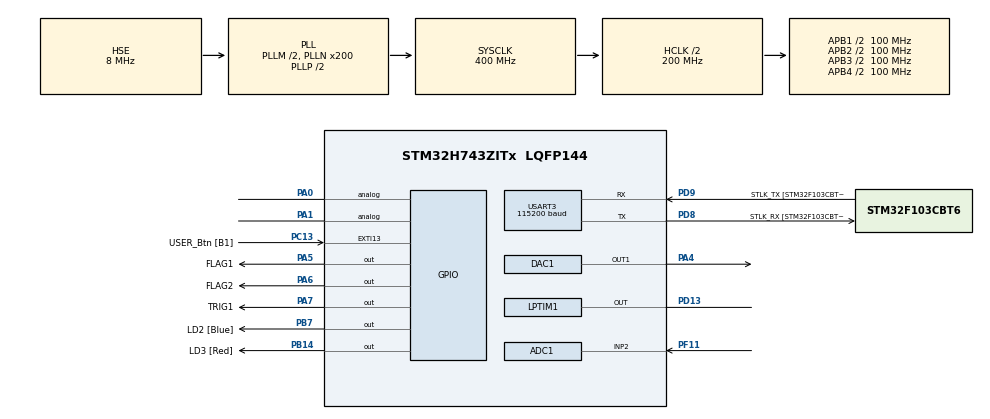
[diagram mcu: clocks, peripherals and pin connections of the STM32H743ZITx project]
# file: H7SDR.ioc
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ADC1.Channel-22\#ChannelRegularConversion=ADC_CHANNEL_2
ADC1.ContinuousConvMode=ENABLE
ADC1.ConversionDataManagement=ADC_CONVERSIONDATA_DMA_CIRCULAR
ADC1.NbrOfConversionFlag=1
ADC1.OffsetNumber-22\#ChannelRegularConversion=ADC_OFFSET_NONE
ADC1.OffsetSignedSaturation-22\#ChannelRegularConversion=DISABLE
ADC1.Rank-22\#ChannelRegularConversion=1
ADC1.SamplingTime-22\#ChannelRegularConversion=ADC_SAMPLETIME_1CYCLE_5
ADC1.master=1
CORTEX_M7.CPU_ICache=Enabled
DAC1.DAC_Channel-DAC_OUT1=DAC_CHANNEL_1
DAC1.DAC_Trigger-DAC_OUT1=DAC_TRIGGER_LPTIM1_OUT
DFSDM1.DataPacking_CH0=DFSDM_CHANNEL_DUAL_MODE
DFSDM1.DataPacking_CH2=DFSDM_CHANNEL_DUAL_MODE
DFSDM1.DmaMode_reg_FIL0=ENABLE
DFSDM1.DmaMode_reg_FIL1=ENABLE
DFSDM1.DmaMode_reg_FIL2=ENABLE
DFSDM1.DmaMode_reg_FIL3=ENABLE
DFSDM1.FastMode_reg_FIL0=ENABLE
DFSDM1.FastMode_reg_FIL1=ENABLE
DFSDM1.FastMode_reg_FIL2=ENABLE
DFSDM1.FastMode_reg_FIL3=ENABLE
DFSDM1.Filter_regChannel_FIL0=DFSDM_CHANNEL_0
DFSDM1.Filter_regChannel_FIL1=DFSDM_CHANNEL_1
DFSDM1.Filter_regChannel_FIL2=DFSDM_CHANNEL_2
DFSDM1.Filter_regChannel_FIL3=DFSDM_CHANNEL_3
DFSDM1.Fosr_FIL0=15
DFSDM1.Fosr_FIL1=15
DFSDM1.Fosr_FIL2=8
DFSDM1.Fosr_FIL3=8
DFSDM1.Iosr_FIL1=1
DFSDM1.RightBitShift_CH0=8
DFSDM1.RightBitShift_CH1=8
DFSDM1.RightBitShift_CH2=7
DFSDM1.RightBitShift_CH3=7
DFSDM1.SincOrder_FIL0=DFSDM_FILTER_SINC4_ORDER
DFSDM1.SincOrder_FIL1=DFSDM_FILTER_SINC4_ORDER
DFSDM1.SincOrder_FIL2=DFSDM_FILTER_SINC5_ORDER
DFSDM1.SincOrder_FIL3=DFSDM_FILTER_SINC5_ORDER
DFSDM1.Trigger_reg_FIL1=DFSDM_FILTER_SW_TRIGGER
Dma.ADC1.2.Direction=DMA_PERIPH_TO_MEMORY
Dma.ADC1.2.EventEnable=DISABLE
Dma.ADC1.2.FIFOMode=DMA_FIFOMODE_DISABLE
Dma.ADC1.2.Instance=DMA1_Stream0
Dma.ADC1.2.MemDataAlignment=DMA_MDATAALIGN_HALFWORD
Dma.ADC1.2.MemInc=DMA_MINC_ENABLE
Dma.ADC1.2.Mode=DMA_CIRCULAR
Dma.ADC1.2.PeriphDataAlignment=DMA_PDATAALIGN_HALFWORD
Dma.ADC1.2.PeriphInc=DMA_PINC_DISABLE
Dma.ADC1.2.Polarity=HAL_DMAMUX_REQ_GEN_RISING
Dma.ADC1.2.Priority=DMA_PRIORITY_LOW
Dma.ADC1.2.RequestNumber=1
Dma.ADC1.2.SignalID=NONE
Dma.ADC1.2.SyncEnable=DISABLE
Dma.ADC1.2.SyncPolarity=HAL_DMAMUX_SYNC_NO_EVENT
Dma.ADC1.2.SyncRequestNumber=1
Dma.ADC1.2.SyncSignalID=NONE
Dma.DAC1_CH1.0.Direction=DMA_MEMORY_TO_PERIPH
Dma.DAC1_CH1.0.EventEnable=DISABLE
Dma.DAC1_CH1.0.FIFOMode=DMA_FIFOMODE_DISABLE
Dma.DAC1_CH1.0.Instance=DMA1_Stream1
Dma.DAC1_CH1.0.MemDataAlignment=DMA_MDATAALIGN_HALFWORD
Dma.DAC1_CH1.0.MemInc=DMA_MINC_ENABLE
Dma.DAC1_CH1.0.Mode=DMA_CIRCULAR
Dma.DAC1_CH1.0.PeriphDataAlignment=DMA_PDATAALIGN_HALFWORD
Dma.DAC1_CH1.0.PeriphInc=DMA_PINC_DISABLE
Dma.DAC1_CH1.0.Polarity=HAL_DMAMUX_REQ_GEN_RISING
Dma.DAC1_CH1.0.Priority=DMA_PRIORITY_VERY_HIGH
Dma.DAC1_CH1.0.RequestNumber=1
Dma.DAC1_CH1.0.SignalID=NONE
Dma.DAC1_CH1.0.SyncEnable=DISABLE
Dma.DAC1_CH1.0.SyncPolarity=HAL_DMAMUX_SYNC_NO_EVENT
Dma.DAC1_CH1.0.SyncRequestNumber=1
Dma.DAC1_CH1.0.SyncSignalID=NONE
Dma.DFSDM1_FLT0.3.Direction=DMA_PERIPH_TO_MEMORY
Dma.DFSDM1_FLT0.3.EventEnable=DISABLE
Dma.DFSDM1_FLT0.3.FIFOMode=DMA_FIFOMODE_DISABLE
Dma.DFSDM1_FLT0.3.Instance=DMA1_Stream3
Dma.DFSDM1_FLT0.3.MemDataAlignment=DMA_MDATAALIGN_WORD
Dma.DFSDM1_FLT0.3.MemInc=DMA_MINC_ENABLE
Dma.DFSDM1_FLT0.3.Mode=DMA_CIRCULAR
Dma.DFSDM1_FLT0.3.PeriphDataAlignment=DMA_PDATAALIGN_WORD
Dma.DFSDM1_FLT0.3.PeriphInc=DMA_PINC_DISABLE
Dma.DFSDM1_FLT0.3.Polarity=HAL_DMAMUX_REQ_GEN_RISING
Dma.DFSDM1_FLT0.3.Priority=DMA_PRIORITY_HIGH
Dma.DFSDM1_FLT0.3.RequestNumber=1
Dma.DFSDM1_FLT0.3.SignalID=NONE
Dma.DFSDM1_FLT0.3.SyncEnable=DISABLE
Dma.DFSDM1_FLT0.3.SyncPolarity=HAL_DMAMUX_SYNC_NO_EVENT
Dma.DFSDM1_FLT0.3.SyncRequestNumber=1
Dma.DFSDM1_FLT0.3.SyncSignalID=NONE
Dma.DFSDM1_FLT1.4.Direction=DMA_PERIPH_TO_MEMORY
Dma.DFSDM1_FLT1.4.EventEnable=DISABLE
Dma.DFSDM1_FLT1.4.FIFOMode=DMA_FIFOMODE_DISABLE
Dma.DFSDM1_FLT1.4.Instance=DMA1_Stream4
Dma.DFSDM1_FLT1.4.MemDataAlignment=DMA_MDATAALIGN_WORD
Dma.DFSDM1_FLT1.4.MemInc=DMA_MINC_ENABLE
Dma.DFSDM1_FLT1.4.Mode=DMA_CIRCULAR
Dma.DFSDM1_FLT1.4.PeriphDataAlignment=DMA_PDATAALIGN_WORD
Dma.DFSDM1_FLT1.4.PeriphInc=DMA_PINC_DISABLE
Dma.DFSDM1_FLT1.4.Polarity=HAL_DMAMUX_REQ_GEN_RISING
Dma.DFSDM1_FLT1.4.Priority=DMA_PRIORITY_HIGH
Dma.DFSDM1_FLT1.4.RequestNumber=1
Dma.DFSDM1_FLT1.4.SignalID=NONE
Dma.DFSDM1_FLT1.4.SyncEnable=DISABLE
Dma.DFSDM1_FLT1.4.SyncPolarity=HAL_DMAMUX_SYNC_NO_EVENT
Dma.DFSDM1_FLT1.4.SyncRequestNumber=1
Dma.DFSDM1_FLT1.4.SyncSignalID=NONE
Dma.DFSDM1_FLT2.5.Direction=DMA_PERIPH_TO_MEMORY
Dma.DFSDM1_FLT2.5.EventEnable=DISABLE
Dma.DFSDM1_FLT2.5.FIFOMode=DMA_FIFOMODE_DISABLE
Dma.DFSDM1_FLT2.5.Instance=DMA1_Stream5
Dma.DFSDM1_FLT2.5.MemDataAlignment=DMA_MDATAALIGN_WORD
Dma.DFSDM1_FLT2.5.MemInc=DMA_MINC_ENABLE
Dma.DFSDM1_FLT2.5.Mode=DMA_CIRCULAR
Dma.DFSDM1_FLT2.5.PeriphDataAlignment=DMA_PDATAALIGN_WORD
Dma.DFSDM1_FLT2.5.PeriphInc=DMA_PINC_DISABLE
Dma.DFSDM1_FLT2.5.Polarity=HAL_DMAMUX_REQ_GEN_RISING
Dma.DFSDM1_FLT2.5.Priority=DMA_PRIORITY_HIGH
Dma.DFSDM1_FLT2.5.RequestNumber=1
Dma.DFSDM1_FLT2.5.SignalID=NONE
Dma.DFSDM1_FLT2.5.SyncEnable=DISABLE
Dma.DFSDM1_FLT2.5.SyncPolarity=HAL_DMAMUX_SYNC_NO_EVENT
Dma.DFSDM1_FLT2.5.SyncRequestNumber=1
Dma.DFSDM1_FLT2.5.SyncSignalID=NONE
Dma.DFSDM1_FLT3.6.Direction=DMA_PERIPH_TO_MEMORY
Dma.DFSDM1_FLT3.6.EventEnable=DISABLE
Dma.DFSDM1_FLT3.6.FIFOMode=DMA_FIFOMODE_DISABLE
Dma.DFSDM1_FLT3.6.Instance=DMA1_Stream6
Dma.DFSDM1_FLT3.6.MemDataAlignment=DMA_MDATAALIGN_WORD
Dma.DFSDM1_FLT3.6.MemInc=DMA_MINC_ENABLE
Dma.DFSDM1_FLT3.6.Mode=DMA_CIRCULAR
Dma.DFSDM1_FLT3.6.PeriphDataAlignment=DMA_PDATAALIGN_WORD
Dma.DFSDM1_FLT3.6.PeriphInc=DMA_PINC_DISABLE
Dma.DFSDM1_FLT3.6.Polarity=HAL_DMAMUX_REQ_GEN_RISING
Dma.DFSDM1_FLT3.6.Priority=DMA_PRIORITY_HIGH
Dma.DFSDM1_FLT3.6.RequestNumber=1
Dma.DFSDM1_FLT3.6.SignalID=NONE
Dma.DFSDM1_FLT3.6.SyncEnable=DISABLE
Dma.DFSDM1_FLT3.6.SyncPolarity=HAL_DMAMUX_SYNC_NO_EVENT
Dma.DFSDM1_FLT3.6.SyncRequestNumber=1
Dma.DFSDM1_FLT3.6.SyncSignalID=NONE
Dma.Request0=DAC1_CH1
Dma.Request1=USART3_TX
Dma.Request2=ADC1
Dma.Request3=DFSDM1_FLT0
Dma.Request4=DFSDM1_FLT1
Dma.Request5=DFSDM1_FLT2
Dma.Request6=DFSDM1_FLT3
Dma.USART3_TX.1.Direction=DMA_MEMORY_TO_PERIPH
Dma.USART3_TX.1.EventEnable=DISABLE
Dma.USART3_TX.1.FIFOMode=DMA_FIFOMODE_DISABLE
Dma.USART3_TX.1.Instance=DMA1_Stream2
Dma.USART3_TX.1.MemDataAlignment=DMA_MDATAALIGN_BYTE
Dma.USART3_TX.1.MemInc=DMA_MINC_ENABLE
Dma.USART3_TX.1.Mode=DMA_NORMAL
Dma.USART3_TX.1.PeriphDataAlignment=DMA_PDATAALIGN_BYTE
Dma.USART3_TX.1.PeriphInc=DMA_PINC_DISABLE
Dma.USART3_TX.1.Polarity=HAL_DMAMUX_REQ_GEN_RISING
Dma.USART3_TX.1.Priority=DMA_PRIORITY_LOW
Dma.USART3_TX.1.RequestNumber=1
Dma.USART3_TX.1.SignalID=NONE
Dma.USART3_TX.1.SyncEnable=DISABLE
Dma.USART3_TX.1.SyncPolarity=HAL_DMAMUX_SYNC_NO_EVENT
Dma.USART3_TX.1.SyncRequestNumber=1
Dma.USART3_TX.1.SyncSignalID=NONE
LPTIM1.TriggerSource=LPTIM_TRIGSOURCE_SOFTWARE
LPTIM1.UpdateMode=LPTIM_UPDATE_IMMEDIATE
Mcu.Family=STM32H7
Mcu.Name=STM32H743ZITx
Mcu.Package=LQFP144
NVIC.DMA1_Stream0_IRQn=true\:0\:0\:false\:false\:true\:false\:true\:true
NVIC.DMA1_Stream1_IRQn=true\:0\:0\:false\:false\:true\:false\:true\:true
NVIC.DMA1_Stream2_IRQn=true\:0\:0\:false\:false\:true\:false\:true\:true
NVIC.DMA1_Stream3_IRQn=true\:0\:0\:false\:false\:true\:false\:true\:true
NVIC.DMA1_Stream4_IRQn=true\:0\:0\:false\:false\:true\:false\:true\:true
NVIC.DMA1_Stream5_IRQn=true\:0\:0\:false\:false\:true\:false\:true\:true
NVIC.DMA1_Stream6_IRQn=true\:0\:0\:false\:false\:true\:false\:true\:true
NVIC.PriorityGroup=NVIC_PRIORITYGROUP_4
NVIC.USART3_IRQn=true\:0\:0\:false\:false\:true\:true\:true\:true
PA0.Signal=GPIO_Analog
PA1.Signal=GPIO_Analog
PA13\ (JTMS/SWDIO).Mode=Serial_Wire
PA13\ (JTMS/SWDIO).Signal=DEBUG_JTMS-SWDIO
PA14\ (JTCK/SWCLK).Mode=Serial_Wire
PA14\ (JTCK/SWCLK).Signal=DEBUG_JTCK-SWCLK
PA4.Signal=COMP_DAC11_group
PA5.GPIO_Label=FLAG1
PA5.Signal=GPIO_Output
PA6.GPIO_Label=FLAG2
PA6.Signal=GPIO_Output
PA7.GPIO_Label=TRIG1
PA7.Signal=GPIO_Output
PB14.GPIO_Label=LD3 [Red]
PB14.Signal=GPIO_Output
PB7.GPIO_Label=LD2 [Blue]
PB7.Signal=GPIO_Output
PC13.GPIO_Label=USER_Btn [B1]
PC13.Signal=GPXTI13
PD13.Mode=WaveformGeneration
PD13.Signal=LPTIM1_OUT
PD8.GPIO_Label=STLK_RX [STM32F103CBT6_PA3]
PD8.Mode=Asynchronous
PD8.Signal=USART3_TX
PD9.GPIO_Label=STLK_TX [STM32F103CBT6_PA2]
PD9.Mode=Asynchronous
PD9.Signal=USART3_RX
PF11.Mode=IN2-Single-Ended
PF11.Signal=ADC1_INP2
PH0-OSC_IN\ (PH0).GPIO_Label=MCO
PH0-OSC_IN\ (PH0).Mode=HSE-External-Clock-Source
PH0-OSC_IN\ (PH0).Signal=RCC_OSC_IN
ProjectManager.HeapSize=0x200
ProjectManager.StackSize=0x400
ProjectManager.TargetToolchain=STM32CubeIDE
RCC.48MHZClocksFreq_Value=24000000
RCC.ADCFreq_Value=26977783.203125
RCC.AHBFreq_Value=216000000
RCC.APB1CLKDivider=RCC_HCLK_DIV4
RCC.APB1Freq_Value=100000000
RCC.APB1TimFreq_Value=108000000
RCC.APB2CLKDivider=RCC_HCLK_DIV2
RCC.APB2Freq_Value=100000000
RCC.APB2TimFreq_Value=216000000
RCC.APB3Freq_Value=100000000
RCC.APB4Freq_Value=100000000
RCC.CortexFreq_Value=400000000
RCC.D1PPRE=RCC_APB3_DIV2
RCC.D2PPRE1=RCC_APB1_DIV2
RCC.D2PPRE2=RCC_APB2_DIV2
RCC.D3PPRE=RCC_APB4_DIV2
RCC.DIVM1=2
RCC.DIVM2=1
RCC.DIVM3=8
RCC.DIVN1=200
RCC.DIVN2=26
RCC.DIVN3=128
RCC.DIVP2=8
RCC.DIVQ1=4
RCC.DIVQ2=8
RCC.HCLKFreq_Value=200000000
RCC.HPRE=RCC_HCLK_DIV2
RCC.HSE_VALUE=8000000
RCC.HSI_VALUE=64000000
RCC.LPTIM1CLockSelection=RCC_LPTIM1CLKSOURCE_PLL2
RCC.PLL1_VCO_SEL-AdvancedSettings=RCC_PLL1VCOMEDIUM
RCC.PLL2FRACN=8010
RCC.PLLFRACN=0
RCC.PLLM=25
RCC.PLLMUL=RCC_PLL_MUL9
RCC.PLLN=432
RCC.PLLQ=9
RCC.PLLSourceVirtual=RCC_PLLSOURCE_HSE
RCC.PRESCALERUSB=RCC_USBCLKSOURCE_PLL_DIV1_5
RCC.SYSCLKFreq_VALUE=400000000
RCC.SYSCLKSource=RCC_SYSCLKSOURCE_PLLCLK
RCC.SYSCLKSourceVirtual=RCC_SYSCLKSOURCE_PLLCLK
RCC.USBFreq_Value=200000000
RCC.VCOOutputFreq_Value=432000000
SH.COMP_DAC11_group.0=DAC1_OUT1,DAC_OUT1
USART3.BaudRate=115200
USART3.FIFOMode=FIFOMODE_DISABLE
USART3.Mode=MODE_TX_RX
USART3.TXFIFOThreshold=TXFIFO_THRESHOLD_EMPTY
USART3.VirtualMode-Asynchronous=VM_ASYNC
VP_DFSDM1_VS_IN0.Mode=Parallel_Input_ch0
VP_DFSDM1_VS_IN1.Mode=Parallel_Input_ch1
VP_DFSDM1_VS_IN2.Mode=Parallel_Input_ch2
VP_DFSDM1_VS_IN3.Mode=Parallel_Input_ch3
VP_LPTIM1_VS_LPTIM_counterModeInternalClock.Mode=Counts__internal_clock_event_00
VP_TIM1_VS_ClockSourceINT.Mode=Internal
board=NUCLEO-H743ZI

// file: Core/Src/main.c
/* USER CODE BEGIN Header */
/* USER CODE END Header */
#include "main.h"

/* USER CODE BEGIN Includes */
#include "fftwindows.h"
#include "base64_encode.h"
#include "arm_math.h"
#include <stdint.h>
/* USER CODE END Includes */

/* USER CODE BEGIN PD */
#define ERRHND      {err_File = __FILE__; err_Line = __LINE__; Error_Handler();}
#define SET_TRIG1   {HAL_GPIO_WritePin(TRIG1_GPIO_Port, TRIG1_Pin, GPIO_PIN_SET);}
#define RESET_TRIG1 {HAL_GPIO_WritePin(TRIG1_GPIO_Port, TRIG1_Pin, GPIO_PIN_RESET);}
#define SET_FLAG1   {HAL_GPIO_WritePin(FLAG1_GPIO_Port, FLAG1_Pin, GPIO_PIN_SET);}
#define RESET_FLAG1 {HAL_GPIO_WritePin(FLAG1_GPIO_Port, FLAG1_Pin, GPIO_PIN_RESET);}
#define SET_FLAG2   {HAL_GPIO_WritePin(FLAG2_GPIO_Port, FLAG2_Pin, GPIO_PIN_SET);}
#define RESET_FLAG2 {HAL_GPIO_WritePin(FLAG2_GPIO_Port, FLAG2_Pin, GPIO_PIN_RESET);}
// Frequency of high speed external clock in Hz
#define F_HSE 8000000
// PLL2 N divisor, DIVM2 = 1 assumed
#define DIVN2 26
// PLL2 fracn2
#define FRACN2 8010
// PLL2 DIVP2
#define DIVP2 8
#define ADC_CLOCK (F_HSE * (26.0 + FRACN2/8192) / DIVP2)
// ADC in 16bit mode needs 10 adc_ker_clk-cycles per conversion
#define CYCLES_PER_ADC_CONVERSION 10
// Time between ADC Samples in s:
#define ADC_PERIOD (CYCLES_PER_ADC_CONVERSION/ADC_CLOCK)
// first decimation filter oversampling ratio
#define FOSR_first 15
// second decimation filter oversampling ratio
#define FOSR_second 8
// Time between DAC samples in s:
#define DAC_PERIOD (ADC_PERIOD * FOSR_first*FOSR_second)

#define DMA_IDLE -1
#define DMA_INPROGRESS 0
#define DMA_HALFCOMPLETE 1
#define DMA_COMPLETE 2

#define DAC_BUFLEN 64
#define FILTER2_BUFLEN (DAC_BUFLEN)
#define FILTER0_BUFLEN (FOSR_second * DAC_BUFLEN)
// ADC_BUFLEN has to be a multiple of 8 (I forgot why...):
#define ADC_BUFLEN (FOSR_first * FOSR_second * DAC_BUFLEN)
// Taps for CIC compensation filter
#define NUM_TAPS 81

/* USER CODE END PD */

ADC_HandleTypeDef hadc1;
DMA_HandleTypeDef hdma_adc1;

DAC_HandleTypeDef hdac1;
DMA_HandleTypeDef hdma_dac1_ch1;

DFSDM_Filter_HandleTypeDef hdfsdm1_filter0;
DFSDM_Filter_HandleTypeDef hdfsdm1_filter1;
DFSDM_Filter_HandleTypeDef hdfsdm1_filter2;
DFSDM_Filter_HandleTypeDef hdfsdm1_filter3;
DFSDM_Channel_HandleTypeDef hdfsdm1_channel0;
DFSDM_Channel_HandleTypeDef hdfsdm1_channel1;
DFSDM_Channel_HandleTypeDef hdfsdm1_channel2;
DFSDM_Channel_HandleTypeDef hdfsdm1_channel3;
DMA_HandleTypeDef hdma_dfsdm1_flt0;
DMA_HandleTypeDef hdma_dfsdm1_flt1;
DMA_HandleTypeDef hdma_dfsdm1_flt2;
DMA_HandleTypeDef hdma_dfsdm1_flt3;

LPTIM_HandleTypeDef hlptim1;

TIM_HandleTypeDef htim1;

UART_HandleTypeDef huart3;
DMA_HandleTypeDef hdma_usart3_tx;

/* USER CODE BEGIN PV */
__attribute__((section(".ram_sdr.ADCBUF"))) ALIGN_32BYTES (static uint16_t adc_buf[ADC_BUFLEN]);
__attribute__((section(".ram_sdr.ADCBUF"))) ALIGN_32BYTES (static float32_t f32_ibuf[FILTER0_BUFLEN]);
__attribute__((section(".ram_sdr.ADCBUF"))) ALIGN_32BYTES (static float32_t f32_qbuf[FILTER0_BUFLEN]);
__attribute__((section(".ram_sdr.ADCBUF"))) ALIGN_32BYTES (static q31_t q31_filter0buf[FILTER0_BUFLEN]);
__attribute__((section(".ram_sdr.ADCBUF"))) ALIGN_32BYTES (static q31_t q31_filter1buf[FILTER0_BUFLEN]);
__attribute__((section(".ram_sdr.ADCBUF"))) ALIGN_32BYTES (static q31_t q31_filter2buf[FILTER2_BUFLEN]);
__attribute__((section(".ram_sdr.ADCBUF"))) ALIGN_32BYTES (static q31_t q31_filter3buf[FILTER2_BUFLEN]);
__attribute__((section(".ram_sdr.ADCBUF"))) ALIGN_32BYTES (static float32_t cplx_buf[2*FILTER2_BUFLEN]);
__attribute__((section(".ram_sdr.ADCBUF"))) ALIGN_32BYTES (static float32_t mag_buf[FILTER2_BUFLEN]);
__attribute__((section(".ram_sdr.ADCBUF"))) ALIGN_32BYTES (static float32_t filteredMag_buf[FILTER2_BUFLEN]);
__attribute__((section(".ram_sdr.ADCBUF"))) ALIGN_32BYTES (static float32_t firStateF32[FILTER2_BUFLEN/2 + NUM_TAPS -1]);
__attribute__((section(".ram_sdr.ADCBUF"))) ALIGN_32BYTES (static uint16_t dac_buf[FILTER2_BUFLEN]);

/*

float32_t cic_compensation_fir_coeff[31] = {
		+0.0069887819, +0.0041257750, -0.0048042590, -0.0173970575,	-0.0203086182, +0.0024378493, +0.0458612471,
		+0.0710893703, +0.0300397219, -0.0805266040, -0.1842281187, -0.1572475188, +0.0788135148, +0.4727037367,
		+0.8464181000, +1.0000000000, +0.8464181000, +0.4727037367, +0.0788135148, -0.1572475188, -0.1842281187,
		-0.0805266040, +0.0300397219, +0.0710893703, +0.0458612471, +0.0024378493, -0.0203086182, -0.0173970575,
		-0.0048042590, +0.0041257750, +0.0069887819};
 */
/*
float32_t cic_compensation_fir_coeff[81] = {
		+0.0002662589, -0.0019258547, -0.0027314644, -0.0012491348, +0.0017764407, +0.0040306125, +0.0031138979,
		-0.0012103384, -0.0059117608, -0.0064405278, -0.0007524619, +0.0076810727, +0.0114169766, +0.0051884959,
		-0.0080865832, -0.0176107450, -0.0129870200, +0.0054343633, +0.0238248253, +0.0245654785, +0.0022224689,
		-0.0280433507, -0.0396466601, -0.0169173794, +0.0273996878, +0.0571376961, +0.0408084327, -0.0179408090,
		-0.0750885233, -0.0768359047, -0.0065270418, +0.0905038921, +0.1313586058, +0.0594465897, -0.0976344743,
		-0.2255574379, -0.1894809324, +0.0697413479, +0.4769489071, +0.8495355583, +1.0000000000, +0.8495355583,
		+0.4769489071, +0.0697413479, -0.1894809324, -0.2255574379, -0.0976344743, +0.0594465897, +0.1313586058,
		+0.0905038921, -0.0065270418, -0.0768359047, -0.0750885233, -0.0179408090, +0.0408084327, +0.0571376961,
		+0.0273996878, -0.0169173794, -0.0396466601, -0.0280433507, +0.0022224689, +0.0245654785, +0.0238248253,
		+0.0054343633, -0.0129870200, -0.0176107450, -0.0080865832, +0.0051884959, +0.0114169766, +0.0076810727,
		-0.0007524619, -0.0064405278, -0.0059117608, -0.0012103384, +0.0031138979, +0.0040306125, +0.0017764407,
		-0.0012491348, -0.0027314644, -0.0019258547, +0.0002662589};
*/
// mit Hochpass:
float32_t cic_compensation_fir_coeff[81] = {
		+0.0009506491, -0.0016149139, -0.0026729986, -0.0012594242, +0.0017881922, +0.0039142256, +0.0024694202,
		-0.0028309208, -0.0086990718, -0.0101849145, -0.0050763894, +0.0028101508, +0.0053185214, -0.0033244777,
		-0.0199392501, -0.0327262471, -0.0303191978, -0.0130977853, +0.0038263100, +0.0012023183, -0.0268923326,
		-0.0638570754, -0.0805951016, -0.0599397519, -0.0157889142, +0.0123535948, -0.0098975128, -0.0785083560,
		-0.1452986453, -0.1513968665, -0.0785432385, +0.0237417624, +0.0648637581, -0.0170092890, -0.1916618459,
		-0.3340529012, -0.2967158273, -0.0149534091, +0.4290760698, +0.8357281697, +1.0000000000, +0.8357281697,
		+0.4290760698, -0.0149534091, -0.2967158273, -0.3340529012, -0.1916618459, -0.0170092890, +0.0648637581,
		+0.0237417624, -0.0785432385, -0.1513968665, -0.1452986453, -0.0785083560, -0.0098975128, +0.0123535948,
		-0.0157889142, -0.0599397519, -0.0805951016, -0.0638570754, -0.0268923326, +0.0012023183, +0.0038263100,
		-0.0130977853, -0.0303191978, -0.0327262471, -0.0199392501, -0.0033244777, +0.0053185214, +0.0028101508,
		-0.0050763894, -0.0101849145, -0.0086990718, -0.0028309208, +0.0024694202, +0.0039142256, +0.0017881922,
		-0.0012594242, -0.0026729986, -0.0016149139, +0.0009506491};

/* ------------------------------------------------------------------
 * Global variables for FIR filter
 * ------------------------------------------------------------------- */
arm_fir_instance_f32 fir_instance;
arm_status armStatus;

// DFSDM channel 0 input register (unfortunately not found in HAL, so declared here:)
volatile uint32_t *DFSDM_CH0DATINR = (uint32_t *) (DFSDM1_BASE + 0x10);
volatile uint32_t dfsdm_chydatinr = 0;
// DFSDM channel 2 input register
volatile uint32_t *DFSDM_CH2DATINR = (uint32_t *) (DFSDM1_BASE + 0x10 + 2*0x20);
//
volatile uint32_t *DWT_CONTROL = (uint32_t *)0xE0001000;
volatile uint32_t *DWT_CYCCNT = (uint32_t *)0xE0001004;
volatile uint32_t *DEMCR = (uint32_t *)0xE000EDFC;
//
char *err_File;
int err_Line;

volatile int8_t adcBufDMAState = DMA_IDLE;
volatile int8_t filter0BufDMAState = DMA_IDLE;
volatile int8_t filter1BufDMAState = DMA_IDLE;
volatile int8_t filter2BufDMAState = DMA_IDLE;
volatile int8_t filter3BufDMAState = DMA_IDLE;
volatile int8_t dacBufDMAState = DMA_IDLE;
volatile int8_t txBufDMAState = DMA_IDLE;

volatile uint8_t dacDMAInitialized = 0;

volatile int16_t dac_gain = 40;

volatile uint8_t offsetCalibrationDone = 0;
uint32_t lastTick;
uint32_t curTick;
const float32_t a_fgmean = 1.0e-5;
float32_t fgmean = 32767.0;
int32_t gMean = 32767;

volatile int dacDMADelay_ms = 1;
const uint8_t ifftFlag = 0; // forward FFT

/* USER CODE END PV */

void SystemClock_Config(void);
void PeriphCommonClock_Config(void);
static void MX_GPIO_Init(void);
static void MX_DMA_Init(void);
static void MX_USART3_UART_Init(void);
static void MX_DAC1_Init(void);
static void MX_ADC1_Init(void);
static void MX_DFSDM1_Init(void);
static void MX_LPTIM1_Init(void);
static void MX_TIM1_Init(void);
/* USER CODE BEGIN PFP */
void feedDFSDMinput(uint16_t startIndex);
void feedSecondFilter(uint16_t startindex);
void feedDACBuf(uint16_t startindex);
void delay_ns (uint16_t ns);
/* USER CODE END PFP */

int main(void)
{

  /* Enable I-Cache---------------------------------------------------------*/
  SCB_EnableICache();

  /* MCU Configuration--------------------------------------------------------*/

  /* Reset of all peripherals, Initializes the Flash interface and the Systick. */
  HAL_Init();

  /* Configure the system clock */
  SystemClock_Config();

/* Configure the peripherals common clocks */
  PeriphCommonClock_Config();

  /* Initialize all configured peripherals */
  MX_GPIO_Init();
  MX_DMA_Init();
  MX_USART3_UART_Init();
  MX_DAC1_Init();
  MX_ADC1_Init();
  MX_DFSDM1_Init();
  MX_LPTIM1_Init();
  MX_TIM1_Init();
  /* USER CODE BEGIN 2 */

  arm_fir_init_f32(&fir_instance, NUM_TAPS, cic_compensation_fir_coeff, firStateF32, FILTER2_BUFLEN/2);

  //kaiser_f32(win_buf, 38, ADC_BUFLEN);

  if (HAL_DFSDM_FilterRegularStart_DMA(&hdfsdm1_filter0, q31_filter0buf, FILTER0_BUFLEN) != HAL_OK) {
	  ERRHND;
  }
  filter0BufDMAState = DMA_INPROGRESS;

  if (HAL_DFSDM_FilterRegularStart_DMA(&hdfsdm1_filter1, q31_filter1buf, FILTER0_BUFLEN) != HAL_OK) {
	  ERRHND;
  }
  filter1BufDMAState = DMA_INPROGRESS;

  if (HAL_DFSDM_FilterRegularStart_DMA(&hdfsdm1_filter2, q31_filter2buf, FILTER2_BUFLEN) != HAL_OK) {
	  ERRHND;
  }
  filter2BufDMAState = DMA_INPROGRESS;

  if (HAL_DFSDM_FilterRegularStart_DMA(&hdfsdm1_filter3, q31_filter3buf, FILTER2_BUFLEN) != HAL_OK) {
	  ERRHND;
  }
  filter3BufDMAState = DMA_INPROGRESS;

  //ADC_ConfigureBoostMode(&hadc1); // recommended for ADCCLK>20M, see datasheet

  if (HAL_ADC_Start_DMA(&hadc1, (uint32_t*)adc_buf, ADC_BUFLEN) != HAL_OK) {
	  ERRHND;
   }
  adcBufDMAState = DMA_INPROGRESS;

  // First ADC block will be fed to DFSDM filter input beginning after xxx
  // Start of DAC DMA should be delayed
  // HAL_Delay(dacDMADelay_ms);

  // TIM1 only needed for short delays:
  if(HAL_OK != HAL_TIM_Base_Start(&htim1)) {
	  ERRHND;
  }

  /* USER CODE END 2 */

  /* Infinite loop */
  /* USER CODE BEGIN WHILE */
  while(1)  {
      HAL_GPIO_TogglePin(LD2_GPIO_Port, LD2_Pin); // blue LED LD2 on NUCLEO board

      if (adcBufDMAState > DMA_INPROGRESS) {
		  if (adcBufDMAState == DMA_HALFCOMPLETE) {
			  SET_FLAG2; // dunkelblau
			  feedDFSDMinput(0);
			  adcBufDMAState = DMA_INPROGRESS;
		  }
          else if (adcBufDMAState == DMA_COMPLETE) {
			  RESET_FLAG2; // dunkelblau
			  feedDFSDMinput(ADC_BUFLEN/2);
			  adcBufDMAState = DMA_INPROGRESS;
		  }
      }

      if (filter0BufDMAState > DMA_INPROGRESS) { // filters 0+1 are ready at the same time
    	  if (filter0BufDMAState == DMA_HALFCOMPLETE) {
    		  SET_FLAG1; //magenta
              /* Feed first halves of filter-output 0,1 to filter inputs 2,3 */
    	      feedSecondFilter(0);
    	      filter0BufDMAState = DMA_INPROGRESS;
    	      filter1BufDMAState = DMA_INPROGRESS;
    	 }
    	 else if (filter0BufDMAState == DMA_COMPLETE) {
     		  RESET_FLAG1; //magenta
              /* Feed second halves of filter-output 0,1 to filter inputs 2,3 */
    	      feedSecondFilter(FILTER0_BUFLEN/2);
    	      filter0BufDMAState = DMA_INPROGRESS;
    	      filter1BufDMAState = DMA_INPROGRESS;
    	 }
      }

      if (filter2BufDMAState > DMA_INPROGRESS) { // filters 2+3 are ready at the same time
    	  if (filter2BufDMAState == DMA_HALFCOMPLETE) {
              /* Store filtered values in first half of DAC buf */
    	      feedDACBuf(0);
    	      // jetzt DAC-DMA starten, falls nicht schon geschehen:
    	      if(dacDMAInitialized == 0) {
    	    	  if (HAL_OK != HAL_LPTIM_Counter_Start(&hlptim1,
    	    			  FOSR_first*FOSR_second * CYCLES_PER_ADC_CONVERSION - 1 )) {
    	    		  ERRHND;
    	    	  }
    	    	  if(HAL_OK != HAL_DAC_Start_DMA(&hdac1, DAC_CHANNEL_1, (uint32_t*)dac_buf,
    	    	 		   FILTER2_BUFLEN, DAC_ALIGN_12B_L)) {
    	    		  ERRHND;
    	    	  }
    	    	  dacDMAInitialized = 1;
    	      }
    	      filter2BufDMAState = DMA_INPROGRESS;
    	      filter3BufDMAState = DMA_INPROGRESS;
    	 }
    	 else if (filter2BufDMAState == DMA_COMPLETE) {
              /* Store filtered values on second half of DAC buf */
              feedDACBuf(FILTER2_BUFLEN/2);
    	      filter2BufDMAState = DMA_INPROGRESS;
    	      filter3BufDMAState = DMA_INPROGRESS;
    	 }
      }

      if (dacBufDMAState > DMA_INPROGRESS) {
          if (dacBufDMAState == DMA_HALFCOMPLETE) {
              SET_TRIG1; //hellblau
              dacBufDMAState = DMA_INPROGRESS;
          }
          else if (dacBufDMAState == DMA_COMPLETE) {
              RESET_TRIG1; //hellblau
              dacBufDMAState = DMA_INPROGRESS;
          }
      }

      if ((curTick = HAL_GetTick()) != lastTick) {
	      fgmean = fgmean * (1.0 - a_fgmean) + a_fgmean * adc_buf[0];
	      gMean = (int)(fgmean + 0.5);
	      lastTick = curTick;
      }
  }
    /* USER CODE END WHILE */

}

void SystemClock_Config(void)
{
  RCC_OscInitTypeDef RCC_OscInitStruct = {0};
  RCC_ClkInitTypeDef RCC_ClkInitStruct = {0};

  /** Supply configuration update enable
  */
  HAL_PWREx_ConfigSupply(PWR_LDO_SUPPLY);

  /** Configure the main internal regulator output voltage
  */
  __HAL_PWR_VOLTAGESCALING_CONFIG(PWR_REGULATOR_VOLTAGE_SCALE1);

  while(!__HAL_PWR_GET_FLAG(PWR_FLAG_VOSRDY)) {}

  /** Initializes the RCC Oscillators according to the specified parameters
  * in the RCC_OscInitTypeDef structure.
  */
  RCC_OscInitStruct.OscillatorType = RCC_OSCILLATORTYPE_HSE;
  RCC_OscInitStruct.HSEState = RCC_HSE_BYPASS;
  RCC_OscInitStruct.PLL.PLLState = RCC_PLL_ON;
  RCC_OscInitStruct.PLL.PLLSource = RCC_PLLSOURCE_HSE;
  RCC_OscInitStruct.PLL.PLLM = 2;
  RCC_OscInitStruct.PLL.PLLN = 200;
  RCC_OscInitStruct.PLL.PLLP = 2;
  RCC_OscInitStruct.PLL.PLLQ = 4;
  RCC_OscInitStruct.PLL.PLLR = 2;
  RCC_OscInitStruct.PLL.PLLRGE = RCC_PLL1VCIRANGE_2;
  RCC_OscInitStruct.PLL.PLLVCOSEL = RCC_PLL1VCOWIDE;
  RCC_OscInitStruct.PLL.PLLFRACN = 0;
  if (HAL_RCC_OscConfig(&RCC_OscInitStruct) != HAL_OK)
  {
    Error_Handler();
  }

  /** Initializes the CPU, AHB and APB buses clocks
  */
  RCC_ClkInitStruct.ClockType = RCC_CLOCKTYPE_HCLK|RCC_CLOCKTYPE_SYSCLK
                              |RCC_CLOCKTYPE_PCLK1|RCC_CLOCKTYPE_PCLK2
                              |RCC_CLOCKTYPE_D3PCLK1|RCC_CLOCKTYPE_D1PCLK1;
  RCC_ClkInitStruct.SYSCLKSource = RCC_SYSCLKSOURCE_PLLCLK;
  RCC_ClkInitStruct.SYSCLKDivider = RCC_SYSCLK_DIV1;
  RCC_ClkInitStruct.AHBCLKDivider = RCC_HCLK_DIV2;
  RCC_ClkInitStruct.APB3CLKDivider = RCC_APB3_DIV2;
  RCC_ClkInitStruct.APB1CLKDivider = RCC_APB1_DIV2;
  RCC_ClkInitStruct.APB2CLKDivider = RCC_APB2_DIV2;
  RCC_ClkInitStruct.APB4CLKDivider = RCC_APB4_DIV2;

  if (HAL_RCC_ClockConfig(&RCC_ClkInitStruct, FLASH_LATENCY_2) != HAL_OK)
  {
    Error_Handler();
  }
}

void PeriphCommonClock_Config(void)
{
  RCC_PeriphCLKInitTypeDef PeriphClkInitStruct = {0};

  /** Initializes the peripherals clock
  */
  PeriphClkInitStruct.PeriphClockSelection = RCC_PERIPHCLK_ADC|RCC_PERIPHCLK_LPTIM1;
  PeriphClkInitStruct.PLL2.PLL2M = 1;
  PeriphClkInitStruct.PLL2.PLL2N = 26;
  PeriphClkInitStruct.PLL2.PLL2P = 8;
  PeriphClkInitStruct.PLL2.PLL2Q = 8;
  PeriphClkInitStruct.PLL2.PLL2R = 2;
  PeriphClkInitStruct.PLL2.PLL2RGE = RCC_PLL2VCIRANGE_3;
  PeriphClkInitStruct.PLL2.PLL2VCOSEL = RCC_PLL2VCOWIDE;
  PeriphClkInitStruct.PLL2.PLL2FRACN = 8010;
  PeriphClkInitStruct.Lptim1ClockSelection = RCC_LPTIM1CLKSOURCE_PLL2;
  PeriphClkInitStruct.AdcClockSelection = RCC_ADCCLKSOURCE_PLL2;
  if (HAL_RCCEx_PeriphCLKConfig(&PeriphClkInitStruct) != HAL_OK)
  {
    Error_Handler();
  }
}

static void MX_ADC1_Init(void)
{

  ADC_MultiModeTypeDef multimode = {0};
  ADC_ChannelConfTypeDef sConfig = {0};

  /** Common config
  */
  hadc1.Instance = ADC1;
  hadc1.Init.ClockPrescaler = ADC_CLOCK_ASYNC_DIV1;
  hadc1.Init.Resolution = ADC_RESOLUTION_16B;
  hadc1.Init.ScanConvMode = ADC_SCAN_DISABLE;
  hadc1.Init.EOCSelection = ADC_EOC_SINGLE_CONV;
  hadc1.Init.LowPowerAutoWait = DISABLE;
  hadc1.Init.ContinuousConvMode = ENABLE;
  hadc1.Init.NbrOfConversion = 1;
  hadc1.Init.DiscontinuousConvMode = DISABLE;
  hadc1.Init.ExternalTrigConv = ADC_SOFTWARE_START;
  hadc1.Init.ExternalTrigConvEdge = ADC_EXTERNALTRIGCONVEDGE_NONE;
  hadc1.Init.ConversionDataManagement = ADC_CONVERSIONDATA_DMA_CIRCULAR;
  hadc1.Init.Overrun = ADC_OVR_DATA_PRESERVED;
  hadc1.Init.LeftBitShift = ADC_LEFTBITSHIFT_NONE;
  hadc1.Init.OversamplingMode = DISABLE;
  if (HAL_ADC_Init(&hadc1) != HAL_OK)
  {
    Error_Handler();
  }

  /** Configure the ADC multi-mode
  */
  multimode.Mode = ADC_MODE_INDEPENDENT;
  if (HAL_ADCEx_MultiModeConfigChannel(&hadc1, &multimode) != HAL_OK)
  {
    Error_Handler();
  }

  /** Configure Regular Channel
  */
  sConfig.Channel = ADC_CHANNEL_2;
  sConfig.Rank = ADC_REGULAR_RANK_1;
  sConfig.SamplingTime = ADC_SAMPLETIME_1CYCLE_5;
  sConfig.SingleDiff = ADC_SINGLE_ENDED;
  sConfig.OffsetNumber = ADC_OFFSET_NONE;
  sConfig.Offset = 0;
  sConfig.OffsetSignedSaturation = DISABLE;
  if (HAL_ADC_ConfigChannel(&hadc1, &sConfig) != HAL_OK)
  {
    Error_Handler();
  }

}

static void MX_DAC1_Init(void)
{

  DAC_ChannelConfTypeDef sConfig = {0};

  /** DAC Initialization
  */
  hdac1.Instance = DAC1;
  if (HAL_DAC_Init(&hdac1) != HAL_OK)
  {
    Error_Handler();
  }

  /** DAC channel OUT1 config
  */
  sConfig.DAC_SampleAndHold = DAC_SAMPLEANDHOLD_DISABLE;
  sConfig.DAC_Trigger = DAC_TRIGGER_LPTIM1_OUT;
  sConfig.DAC_OutputBuffer = DAC_OUTPUTBUFFER_ENABLE;
  sConfig.DAC_ConnectOnChipPeripheral = DAC_CHIPCONNECT_DISABLE;
  sConfig.DAC_UserTrimming = DAC_TRIMMING_FACTORY;
  if (HAL_DAC_ConfigChannel(&hdac1, &sConfig, DAC_CHANNEL_1) != HAL_OK)
  {
    Error_Handler();
  }

}

static void MX_DFSDM1_Init(void)
{

  hdfsdm1_filter0.Instance = DFSDM1_Filter0;
  hdfsdm1_filter0.Init.RegularParam.Trigger = DFSDM_FILTER_SW_TRIGGER;
  hdfsdm1_filter0.Init.RegularParam.FastMode = ENABLE;
  hdfsdm1_filter0.Init.RegularParam.DmaMode = ENABLE;
  hdfsdm1_filter0.Init.FilterParam.SincOrder = DFSDM_FILTER_SINC4_ORDER;
  hdfsdm1_filter0.Init.FilterParam.Oversampling = 15;
  hdfsdm1_filter0.Init.FilterParam.IntOversampling = 1;
  if (HAL_DFSDM_FilterInit(&hdfsdm1_filter0) != HAL_OK)
  {
    Error_Handler();
  }
  hdfsdm1_filter1.Instance = DFSDM1_Filter1;
  hdfsdm1_filter1.Init.RegularParam.Trigger = DFSDM_FILTER_SW_TRIGGER;
  hdfsdm1_filter1.Init.RegularParam.FastMode = ENABLE;
  hdfsdm1_filter1.Init.RegularParam.DmaMode = ENABLE;
  hdfsdm1_filter1.Init.FilterParam.SincOrder = DFSDM_FILTER_SINC4_ORDER;
  hdfsdm1_filter1.Init.FilterParam.Oversampling = 15;
  hdfsdm1_filter1.Init.FilterParam.IntOversampling = 1;
  if (HAL_DFSDM_FilterInit(&hdfsdm1_filter1) != HAL_OK)
  {
    Error_Handler();
  }
  hdfsdm1_filter2.Instance = DFSDM1_Filter2;
  hdfsdm1_filter2.Init.RegularParam.Trigger = DFSDM_FILTER_SW_TRIGGER;
  hdfsdm1_filter2.Init.RegularParam.FastMode = ENABLE;
  hdfsdm1_filter2.Init.RegularParam.DmaMode = ENABLE;
  hdfsdm1_filter2.Init.FilterParam.SincOrder = DFSDM_FILTER_SINC5_ORDER;
  hdfsdm1_filter2.Init.FilterParam.Oversampling = 8;
  hdfsdm1_filter2.Init.FilterParam.IntOversampling = 1;
  if (HAL_DFSDM_FilterInit(&hdfsdm1_filter2) != HAL_OK)
  {
    Error_Handler();
  }
  hdfsdm1_filter3.Instance = DFSDM1_Filter3;
  hdfsdm1_filter3.Init.RegularParam.Trigger = DFSDM_FILTER_SW_TRIGGER;
  hdfsdm1_filter3.Init.RegularParam.FastMode = ENABLE;
  hdfsdm1_filter3.Init.RegularParam.DmaMode = ENABLE;
  hdfsdm1_filter3.Init.FilterParam.SincOrder = DFSDM_FILTER_SINC5_ORDER;
  hdfsdm1_filter3.Init.FilterParam.Oversampling = 8;
  hdfsdm1_filter3.Init.FilterParam.IntOversampling = 1;
  if (HAL_DFSDM_FilterInit(&hdfsdm1_filter3) != HAL_OK)
  {
    Error_Handler();
  }
  hdfsdm1_channel0.Instance = DFSDM1_Channel0;
  hdfsdm1_channel0.Init.OutputClock.Activation = DISABLE;
  hdfsdm1_channel0.Init.OutputClock.Selection = DFSDM_CHANNEL_OUTPUT_CLOCK_SYSTEM;
  hdfsdm1_channel0.Init.OutputClock.Divider = 2;
  hdfsdm1_channel0.Init.Input.Multiplexer = DFSDM_CHANNEL_INTERNAL_REGISTER;
  hdfsdm1_channel0.Init.Input.DataPacking = DFSDM_CHANNEL_DUAL_MODE;
  hdfsdm1_channel0.Init.Input.Pins = DFSDM_CHANNEL_SAME_CHANNEL_PINS;
  hdfsdm1_channel0.Init.SerialInterface.Type = DFSDM_CHANNEL_SPI_RISING;
  hdfsdm1_channel0.Init.SerialInterface.SpiClock = DFSDM_CHANNEL_SPI_CLOCK_EXTERNAL;
  hdfsdm1_channel0.Init.Awd.FilterOrder = DFSDM_CHANNEL_FASTSINC_ORDER;
  hdfsdm1_channel0.Init.Awd.Oversampling = 1;
  hdfsdm1_channel0.Init.Offset = 0x00;
  hdfsdm1_channel0.Init.RightBitShift = 8;
  if (HAL_DFSDM_ChannelInit(&hdfsdm1_channel0) != HAL_OK)
  {
    Error_Handler();
  }
  hdfsdm1_channel1.Instance = DFSDM1_Channel1;
  hdfsdm1_channel1.Init.OutputClock.Activation = DISABLE;
  hdfsdm1_channel1.Init.OutputClock.Selection = DFSDM_CHANNEL_OUTPUT_CLOCK_SYSTEM;
  hdfsdm1_channel1.Init.OutputClock.Divider = 2;
  hdfsdm1_channel1.Init.Input.Multiplexer = DFSDM_CHANNEL_INTERNAL_REGISTER;
  hdfsdm1_channel1.Init.Input.DataPacking = DFSDM_CHANNEL_STANDARD_MODE;
  hdfsdm1_channel1.Init.Input.Pins = DFSDM_CHANNEL_SAME_CHANNEL_PINS;
  hdfsdm1_channel1.Init.SerialInterface.Type = DFSDM_CHANNEL_SPI_RISING;
  hdfsdm1_channel1.Init.SerialInterface.SpiClock = DFSDM_CHANNEL_SPI_CLOCK_EXTERNAL;
  hdfsdm1_channel1.Init.Awd.FilterOrder = DFSDM_CHANNEL_FASTSINC_ORDER;
  hdfsdm1_channel1.Init.Awd.Oversampling = 1;
  hdfsdm1_channel1.Init.Offset = 0x00;
  hdfsdm1_channel1.Init.RightBitShift = 8;
  if (HAL_DFSDM_ChannelInit(&hdfsdm1_channel1) != HAL_OK)
  {
    Error_Handler();
  }
  hdfsdm1_channel2.Instance = DFSDM1_Channel2;
  hdfsdm1_channel2.Init.OutputClock.Activation = DISABLE;
  hdfsdm1_channel2.Init.OutputClock.Selection = DFSDM_CHANNEL_OUTPUT_CLOCK_SYSTEM;
  hdfsdm1_channel2.Init.OutputClock.Divider = 2;
  hdfsdm1_channel2.Init.Input.Multiplexer = DFSDM_CHANNEL_INTERNAL_REGISTER;
  hdfsdm1_channel2.Init.Input.DataPacking = DFSDM_CHANNEL_DUAL_MODE;
  hdfsdm1_channel2.Init.Input.Pins = DFSDM_CHANNEL_SAME_CHANNEL_PINS;
  hdfsdm1_channel2.Init.SerialInterface.Type = DFSDM_CHANNEL_SPI_RISING;
  hdfsdm1_channel2.Init.SerialInterface.SpiClock = DFSDM_CHANNEL_SPI_CLOCK_EXTERNAL;
  hdfsdm1_channel2.Init.Awd.FilterOrder = DFSDM_CHANNEL_FASTSINC_ORDER;
  hdfsdm1_channel2.Init.Awd.Oversampling = 1;
  hdfsdm1_channel2.Init.Offset = 0x00;
  hdfsdm1_channel2.Init.RightBitShift = 7;
  if (HAL_DFSDM_ChannelInit(&hdfsdm1_channel2) != HAL_OK)
  {
    Error_Handler();
  }
  hdfsdm1_channel3.Instance = DFSDM1_Channel3;
  hdfsdm1_channel3.Init.OutputClock.Activation = DISABLE;
  hdfsdm1_channel3.Init.OutputClock.Selection = DFSDM_CHANNEL_OUTPUT_CLOCK_SYSTEM;
  hdfsdm1_channel3.Init.OutputClock.Divider = 2;
  hdfsdm1_channel3.Init.Input.Multiplexer = DFSDM_CHANNEL_INTERNAL_REGISTER;
  hdfsdm1_channel3.Init.Input.DataPacking = DFSDM_CHANNEL_STANDARD_MODE;
  hdfsdm1_channel3.Init.Input.Pins = DFSDM_CHANNEL_SAME_CHANNEL_PINS;
  hdfsdm1_channel3.Init.SerialInterface.Type = DFSDM_CHANNEL_SPI_RISING;
  hdfsdm1_channel3.Init.SerialInterface.SpiClock = DFSDM_CHANNEL_SPI_CLOCK_EXTERNAL;
  hdfsdm1_channel3.Init.Awd.FilterOrder = DFSDM_CHANNEL_FASTSINC_ORDER;
  hdfsdm1_channel3.Init.Awd.Oversampling = 1;
  hdfsdm1_channel3.Init.Offset = 0x00;
  hdfsdm1_channel3.Init.RightBitShift = 7;
  if (HAL_DFSDM_ChannelInit(&hdfsdm1_channel3) != HAL_OK)
  {
    Error_Handler();
  }
  if (HAL_DFSDM_FilterConfigRegChannel(&hdfsdm1_filter0, DFSDM_CHANNEL_0, DFSDM_CONTINUOUS_CONV_ON) != HAL_OK)
  {
    Error_Handler();
  }
  if (HAL_DFSDM_FilterConfigRegChannel(&hdfsdm1_filter1, DFSDM_CHANNEL_1, DFSDM_CONTINUOUS_CONV_ON) != HAL_OK)
  {
    Error_Handler();
  }
  if (HAL_DFSDM_FilterConfigRegChannel(&hdfsdm1_filter2, DFSDM_CHANNEL_2, DFSDM_CONTINUOUS_CONV_ON) != HAL_OK)
  {
    Error_Handler();
  }
  if (HAL_DFSDM_FilterConfigRegChannel(&hdfsdm1_filter3, DFSDM_CHANNEL_3, DFSDM_CONTINUOUS_CONV_ON) != HAL_OK)
  {
    Error_Handler();
  }

}

static void MX_LPTIM1_Init(void)
{

  hlptim1.Instance = LPTIM1;
  hlptim1.Init.Clock.Source = LPTIM_CLOCKSOURCE_APBCLOCK_LPOSC;
  hlptim1.Init.Clock.Prescaler = LPTIM_PRESCALER_DIV1;
  hlptim1.Init.Trigger.Source = LPTIM_TRIGSOURCE_SOFTWARE;
  hlptim1.Init.OutputPolarity = LPTIM_OUTPUTPOLARITY_HIGH;
  hlptim1.Init.UpdateMode = LPTIM_UPDATE_IMMEDIATE;
  hlptim1.Init.CounterSource = LPTIM_COUNTERSOURCE_INTERNAL;
  hlptim1.Init.Input1Source = LPTIM_INPUT1SOURCE_GPIO;
  hlptim1.Init.Input2Source = LPTIM_INPUT2SOURCE_GPIO;
  if (HAL_LPTIM_Init(&hlptim1) != HAL_OK)
  {
    Error_Handler();
  }

}

static void MX_TIM1_Init(void)
{

  TIM_ClockConfigTypeDef sClockSourceConfig = {0};
  TIM_MasterConfigTypeDef sMasterConfig = {0};

  htim1.Instance = TIM1;
  htim1.Init.Prescaler = 0;
  htim1.Init.CounterMode = TIM_COUNTERMODE_UP;
  htim1.Init.Period = 65535;
  htim1.Init.ClockDivision = TIM_CLOCKDIVISION_DIV1;
  htim1.Init.RepetitionCounter = 0;
  htim1.Init.AutoReloadPreload = TIM_AUTORELOAD_PRELOAD_DISABLE;
  if (HAL_TIM_Base_Init(&htim1) != HAL_OK)
  {
    Error_Handler();
  }
  sClockSourceConfig.ClockSource = TIM_CLOCKSOURCE_INTERNAL;
  if (HAL_TIM_ConfigClockSource(&htim1, &sClockSourceConfig) != HAL_OK)
  {
    Error_Handler();
  }
  sMasterConfig.MasterOutputTrigger = TIM_TRGO_RESET;
  sMasterConfig.MasterOutputTrigger2 = TIM_TRGO2_RESET;
  sMasterConfig.MasterSlaveMode = TIM_MASTERSLAVEMODE_DISABLE;
  if (HAL_TIMEx_MasterConfigSynchronization(&htim1, &sMasterConfig) != HAL_OK)
  {
    Error_Handler();
  }

}

static void MX_USART3_UART_Init(void)
{

  huart3.Instance = USART3;
  huart3.Init.BaudRate = 115200;
  huart3.Init.WordLength = UART_WORDLENGTH_8B;
  huart3.Init.StopBits = UART_STOPBITS_1;
  huart3.Init.Parity = UART_PARITY_NONE;
  huart3.Init.Mode = UART_MODE_TX_RX;
  huart3.Init.HwFlowCtl = UART_HWCONTROL_NONE;
  huart3.Init.OverSampling = UART_OVERSAMPLING_16;
  huart3.Init.OneBitSampling = UART_ONE_BIT_SAMPLE_DISABLE;
  huart3.Init.ClockPrescaler = UART_PRESCALER_DIV1;
  huart3.AdvancedInit.AdvFeatureInit = UART_ADVFEATURE_NO_INIT;
  if (HAL_UART_Init(&huart3) != HAL_OK)
  {
    Error_Handler();
  }
  if (HAL_UARTEx_SetTxFifoThreshold(&huart3, UART_TXFIFO_THRESHOLD_8_8) != HAL_OK)
  {
    Error_Handler();
  }
  if (HAL_UARTEx_SetRxFifoThreshold(&huart3, UART_RXFIFO_THRESHOLD_1_8) != HAL_OK)
  {
    Error_Handler();
  }
  if (HAL_UARTEx_DisableFifoMode(&huart3) != HAL_OK)
  {
    Error_Handler();
  }

}

static void MX_DMA_Init(void)
{

  /* DMA controller clock enable */
  __HAL_RCC_DMA1_CLK_ENABLE();

  /* DMA interrupt init */
  /* DMA1_Stream0_IRQn interrupt configuration */
  HAL_NVIC_SetPriority(DMA1_Stream0_IRQn, 0, 0);
  HAL_NVIC_EnableIRQ(DMA1_Stream0_IRQn);
  /* DMA1_Stream1_IRQn interrupt configuration */
  HAL_NVIC_SetPriority(DMA1_Stream1_IRQn, 0, 0);
  HAL_NVIC_EnableIRQ(DMA1_Stream1_IRQn);
  /* DMA1_Stream2_IRQn interrupt configuration */
  HAL_NVIC_SetPriority(DMA1_Stream2_IRQn, 0, 0);
  HAL_NVIC_EnableIRQ(DMA1_Stream2_IRQn);
  /* DMA1_Stream3_IRQn interrupt configuration */
  HAL_NVIC_SetPriority(DMA1_Stream3_IRQn, 0, 0);
  HAL_NVIC_EnableIRQ(DMA1_Stream3_IRQn);
  /* DMA1_Stream4_IRQn interrupt configuration */
  HAL_NVIC_SetPriority(DMA1_Stream4_IRQn, 0, 0);
  HAL_NVIC_EnableIRQ(DMA1_Stream4_IRQn);
  /* DMA1_Stream5_IRQn interrupt configuration */
  HAL_NVIC_SetPriority(DMA1_Stream5_IRQn, 0, 0);
  HAL_NVIC_EnableIRQ(DMA1_Stream5_IRQn);
  /* DMA1_Stream6_IRQn interrupt configuration */
  HAL_NVIC_SetPriority(DMA1_Stream6_IRQn, 0, 0);
  HAL_NVIC_EnableIRQ(DMA1_Stream6_IRQn);

}

static void MX_GPIO_Init(void)
{
  GPIO_InitTypeDef GPIO_InitStruct = {0};

  /* GPIO Ports Clock Enable */
  __HAL_RCC_GPIOC_CLK_ENABLE();
  __HAL_RCC_GPIOH_CLK_ENABLE();
  __HAL_RCC_GPIOA_CLK_ENABLE();
  __HAL_RCC_GPIOF_CLK_ENABLE();
  __HAL_RCC_GPIOB_CLK_ENABLE();
  __HAL_RCC_GPIOD_CLK_ENABLE();

  /*Configure GPIO pin Output Level */
  HAL_GPIO_WritePin(GPIOA, FLAG1_Pin|FLAG2_Pin|TRIG1_Pin, GPIO_PIN_RESET);

  /*Configure GPIO pin Output Level */
  HAL_GPIO_WritePin(GPIOB, LD3_Pin|LD2_Pin, GPIO_PIN_RESET);

  /*Configure GPIO pin : USER_Btn_Pin */
  GPIO_InitStruct.Pin = USER_Btn_Pin;
  GPIO_InitStruct.Mode = GPIO_MODE_IT_RISING;
  GPIO_InitStruct.Pull = GPIO_NOPULL;
  HAL_GPIO_Init(USER_Btn_GPIO_Port, &GPIO_InitStruct);

  /*Configure GPIO pins : PA0 PA1 */
  GPIO_InitStruct.Pin = GPIO_PIN_0|GPIO_PIN_1;
  GPIO_InitStruct.Mode = GPIO_MODE_ANALOG;
  GPIO_InitStruct.Pull = GPIO_NOPULL;
  HAL_GPIO_Init(GPIOA, &GPIO_InitStruct);

  /*Configure GPIO pins : FLAG1_Pin FLAG2_Pin TRIG1_Pin */
  GPIO_InitStruct.Pin = FLAG1_Pin|FLAG2_Pin|TRIG1_Pin;
  GPIO_InitStruct.Mode = GPIO_MODE_OUTPUT_PP;
  GPIO_InitStruct.Pull = GPIO_NOPULL;
  GPIO_InitStruct.Speed = GPIO_SPEED_FREQ_LOW;
  HAL_GPIO_Init(GPIOA, &GPIO_InitStruct);

  /*Configure GPIO pins : LD3_Pin LD2_Pin */
  GPIO_InitStruct.Pin = LD3_Pin|LD2_Pin;
  GPIO_InitStruct.Mode = GPIO_MODE_OUTPUT_PP;
  GPIO_InitStruct.Pull = GPIO_NOPULL;
  GPIO_InitStruct.Speed = GPIO_SPEED_FREQ_LOW;
  HAL_GPIO_Init(GPIOB, &GPIO_InitStruct);

}

/* USER CODE BEGIN 4 */

// Frequency translation by -fs/4 without multiplication
// by using cos(n/2 * Pi) = 1,0,-1,0,... and -sin(n/2 * Pi) = 0,-1,0,1,...
// hi word: Q, lo word: I
void feedDFSDMinput(uint16_t startIndex)
{
  int32_t dcFree_ADCSample;
  for(uint16_t i=startIndex; i < startIndex+ADC_BUFLEN/2; i+=4) {
	  dcFree_ADCSample = (adc_buf[i] - gMean) & 0xffff;
	  dfsdm_chydatinr =  dcFree_ADCSample;   // Phase 0: x[n] + j0
	  *DFSDM_CH0DATINR = dfsdm_chydatinr; // load and trigger DFSDM by 32bit write

	  dcFree_ADCSample = (adc_buf[i + 1] - gMean) & 0xffff;
	  dfsdm_chydatinr =  ((-dcFree_ADCSample) & 0xffff) << 16; // Phase 90: 0 + -jx[n]
	  *DFSDM_CH0DATINR = dfsdm_chydatinr; // load and trigger DFSDM by 32bit write

	  dcFree_ADCSample = (adc_buf[i + 2] - gMean) & 0xffff;
	  dfsdm_chydatinr =  (-dcFree_ADCSample) & 0xffff; // Phase 180: -x[n] + j0
	  *DFSDM_CH0DATINR = dfsdm_chydatinr; // load and trigger DFSDM by 32bit write

	  dcFree_ADCSample = (adc_buf[i + 3] - gMean) & 0xffff;
	  dfsdm_chydatinr =  dcFree_ADCSample << 16; // Phase 270: 0 + jx[n]
	  *DFSDM_CH0DATINR = dfsdm_chydatinr; // load and trigger DFSDM by 32bit write
  }
}

void feedSecondFilter(uint16_t startindex) {
	uint32_t secondCICin;

	for(uint16_t i=startindex; i< startindex+FILTER0_BUFLEN/2; i++) {
		secondCICin = (q31_filter0buf[i] & 0xffff0000) | (((uint32_t)q31_filter1buf[i] >> 16) & 0xffff);
		*DFSDM_CH2DATINR = secondCICin;
    }

}

void feedDACBuf(uint16_t startindex)
{
    static float32_t meanMag;
    static float32_t meanI;
    static float32_t meanQ;
    float32_t curMag;
    float32_t curMeanI;
    float32_t curMeanQ;
    const float32_t a = 1e-2;

    // determining mean I and Q values in output data of filter2:

	arm_q31_to_float(q31_filter2buf+startindex, f32_ibuf+startindex, FILTER2_BUFLEN/2);
	arm_q31_to_float(q31_filter3buf+startindex, f32_qbuf+startindex, FILTER2_BUFLEN/2);
	arm_mean_f32(f32_ibuf+startindex, FILTER2_BUFLEN/2, &curMeanI);
	arm_mean_f32(f32_qbuf+startindex, FILTER2_BUFLEN/2, &curMeanQ);

    meanI = (1-a) * meanI + a * curMeanI;
    meanQ = (1-a) * meanQ + a * curMeanQ;

	curMag = 0.0;

	// fill a complex data array in an interleaved fashion: (real, imag, real, imag, ...)
	for(uint16_t i=startindex; i< startindex+FILTER2_BUFLEN/2; i++) {
		cplx_buf[2*i] = f32_ibuf[i] - meanI;
		cplx_buf[2*i+1] = f32_qbuf[i] - meanQ;
	}
	arm_cmplx_mag_f32(cplx_buf+2*startindex, mag_buf+startindex, FILTER2_BUFLEN/2);

	//arm_offset_f32(mag_buf+startindex, -meanMag, mag_buf+startindex, FILTER2_BUFLEN/2);
	//arm_scale_f32(mag_buf+startindex, dac_gain * 32768.0, mag_buf+startindex, FILTER2_BUFLEN/2);

	arm_fir_f32(&fir_instance, mag_buf + startindex, filteredMag_buf + startindex, FILTER2_BUFLEN/2);

	arm_mean_f32(filteredMag_buf+startindex, FILTER2_BUFLEN/2, &curMag);
	meanMag = (1-a) * meanMag + a * curMag;

	for(uint16_t i=startindex; i< startindex+FILTER2_BUFLEN/2; i++) {
        dac_buf[i] = (filteredMag_buf[i] - meanMag) * dac_gain * 32768.0 + 32767;
//        dac_buf[i] = (mag_buf[i] - meanMag) * dac_gain * 32768.0 + 32767;
	}

}

/* ADC DMA interrupts ************************************************/
void HAL_ADC_ConvHalfCpltCallback(ADC_HandleTypeDef *hadc)
{
     adcBufDMAState = DMA_HALFCOMPLETE;
}

void HAL_ADC_ConvCpltCallback(ADC_HandleTypeDef *hadc)
{
     adcBufDMAState = DMA_COMPLETE;
}

void HAL_ADC_ErrorCallback(ADC_HandleTypeDef *hadc)
{
     if (hadc->ErrorCode) {
	     ERRHND;
     }
}

/* DAC DMA interrupts ************************************************/
void HAL_DAC_ConvHalfCpltCallbackCh1(DAC_HandleTypeDef *hdac)
{
     dacBufDMAState = DMA_HALFCOMPLETE;
}

void HAL_DAC_ConvCpltCallbackCh1(DAC_HandleTypeDef *hdac)
{
     dacBufDMAState = DMA_COMPLETE;
}

/* DFSDM DMA interrupts ************************************************/
void HAL_DFSDM_FilterRegConvHalfCpltCallback(DFSDM_Filter_HandleTypeDef *hdfsdm_filter)
{
	if (hdfsdm_filter == &hdfsdm1_filter0) {
		filter0BufDMAState = DMA_HALFCOMPLETE;
		return;
	}
	if (hdfsdm_filter == &hdfsdm1_filter1) {
		filter1BufDMAState = DMA_HALFCOMPLETE;
		return;
	}
	if (hdfsdm_filter == &hdfsdm1_filter2) {
		filter2BufDMAState = DMA_HALFCOMPLETE;
		return;
	}
	if (hdfsdm_filter == &hdfsdm1_filter3) {
		filter3BufDMAState = DMA_HALFCOMPLETE;
		return;
	}
	ERRHND;
}

void HAL_DFSDM_FilterRegConvCpltCallback(DFSDM_Filter_HandleTypeDef *hdfsdm_filter)
{
	if (hdfsdm_filter == &hdfsdm1_filter0) {
		filter0BufDMAState = DMA_COMPLETE;
		return;
	}
	if (hdfsdm_filter == &hdfsdm1_filter1) {
		filter1BufDMAState = DMA_COMPLETE;
		return;
	}
	if (hdfsdm_filter == &hdfsdm1_filter2) {
		filter2BufDMAState = DMA_COMPLETE;
		return;
	}
	if (hdfsdm_filter == &hdfsdm1_filter3) {
		filter3BufDMAState = DMA_COMPLETE;
		return;
	}
	ERRHND;
}

/* UART DMA interrupts ************************************************/
void HAL_UART_TxHalfCpltCallback(UART_HandleTypeDef *huart)
{
    if(huart == &huart3) {
    	txBufDMAState = DMA_HALFCOMPLETE;
    }
}

void HAL_UART_TxCpltCallback(UART_HandleTypeDef *huart)
{
    if(huart == &huart3) {
    	txBufDMAState = DMA_COMPLETE;
    }
}

void delay_ns (uint16_t ns)  // TIM1 runs on 200MHz, so multiples of 5ns are possible
{
	__HAL_TIM_SET_COUNTER(&htim1,0);  // set the counter value a 0
	while (__HAL_TIM_GET_COUNTER(&htim1) < (ns/5));  // wait for the counter to reach the us input in the parameter
}

/* USER CODE END 4 */

void Error_Handler(void)
{
  /* USER CODE BEGIN Error_Handler_Debug */
      while (1)
	  {}
  /* USER CODE END Error_Handler_Debug */
}
